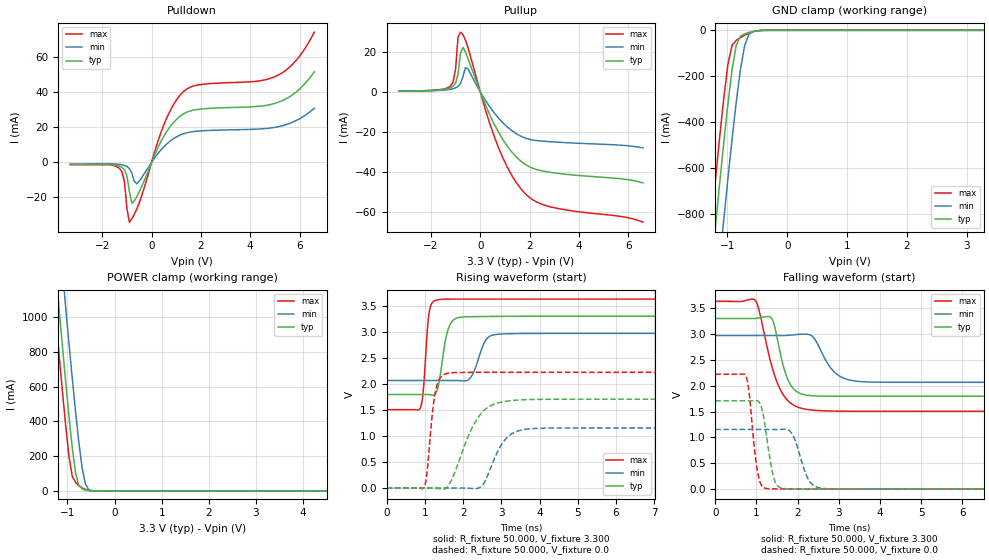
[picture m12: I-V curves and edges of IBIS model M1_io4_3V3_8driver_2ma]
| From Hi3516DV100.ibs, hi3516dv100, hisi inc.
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|   Model M1_io4_3V3_8driver_2ma
[Model] M1_io4_3V3_8driver_2ma
Model_type I/O
Enable   Active-Low
|   typ   min   max
C_comp   2.599pF   2.506pF   2.603pF
C_comp_pullup   1.350pF   1.271pF   1.409pF
C_comp_pulldown   1.072pF   1.051pF   1.091pF
[Temperature Range]   25.000   0.125k   -40.000
[Voltage Range]   3.300V   2.970V   3.630V
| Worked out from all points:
|   slope of the pulldown table from 0 to 0.495 V, typ, clamps not added: 33.2 ohm
|   slope of the pullup table from 0 to 0.495 V, typ, clamps not added: 34.5 ohm
|   GND clamp passes 1 mA (typ) near -0.46 V on its own axis
|   POWER clamp passes 1 mA (typ) near -0.51 V on its own axis
|   rising waveform, R_fixture 50.000, V_fixture 3.300: 20-80 % time 201ps typ, 262ps min, 119ps max; typ from 1.8 V to 3.3 V
|   rising waveform, R_fixture 50.000, V_fixture 0.0: 20-80 % time 597ps typ, 457ps min, 181ps max; typ from 0.001 V to 1.71 V
|   falling waveform, R_fixture 50.000, V_fixture 3.300: 20-80 % time 292ps typ, 421ps min, 441ps max; typ from 3.3 V to 1.8 V
|   falling waveform, R_fixture 50.000, V_fixture 0.0: 20-80 % time 204ps typ, 286ps min, 171ps max; typ from 1.71 V to 0.001 V
[Pulldown]
|Voltage   I(typ)   I(min)   I(max)
-3.3V     -1.194mA   -921.7uA   -1.327mA
-1.3V     -2.114mA   -1.111mA   -3.416mA
-1.1V     -4.211mA   -1.713mA   -11.11mA
-1V       -7.578mA   -2.318mA   -26.47mA
-900mV    -16.67mA   -3.474mA   -34.16mA
-800mV    -23.36mA   -6.08mA    -32.2mA
-600mV    -19.64mA   -12.22mA   -26.69mA
500mV     15.04mA    8.997mA    21.54mA
1.2V      26.86mA    15.89mA    39.16mA
5.1V      34.2mA     20.32mA    49.66mA
5.9V      40.67mA    24.18mA    58.93mA
6.6V      51.81mA    30.99mA    74.5mA
[Pullup]
|Voltage   I(typ)   I(min)   I(max)
-3.3V     376uA      346.4uA    381.1uA
-1.2V     1.955mA    1.202mA    2.892mA
-1V       4.268mA    1.9mA      11.18mA
-900mV    8.59mA     2.633mA    27.17mA
-800mV    19.21mA    4.092mA    29.75mA
-700mV    22.06mA    7.461mA    28.48mA
-500mV    16.78mA    11.45mA    22.15mA
700mV     -19.25mA   -12.54mA   -26.6mA
1.2V      -28.83mA   -18.66mA   -40.02mA
1.8V      -36.06mA   -23.02mA   -50.53mA
2.9V      -40.34mA   -25.02mA   -57.63mA
6.6V      -45.53mA   -28.06mA   -65.15mA
[GND_clamp]
|Voltage   I(typ)   I(min)   I(max)
-3.3V     -6.775A    -7.035A    -6.624A
-1.27V    -1.051A    -1.391A    -846.9mA
-1.2V     -860.6mA   -1.2A      -657.1mA
-1.06V    -493.3mA   -827.8mA   -298.8mA
-990mV    -322.2mA   -647.6mA   -149.5mA
-920mV    -171mA     -474.2mA   -65.16mA
-850mV    -64.78mA   -312mA     -43.82mA
-780mV    -25.58mA   -169.8mA   -31.88mA
-710mV    -14.94mA   -66.04mA   -21.48mA
-640mV    -8.835mA   -17.88mA   -12.82mA
-430mV    -438.1uA   -627.6uA   -443.7uA
3.28V     0A         0A         0A
[POWER_clamp]
|Voltage   I(typ)   I(min)   I(max)
-3.28V    7.852A     8.261A     7.609A
-1.32V    1.49A      1.927A     1.226A
-1.25V    1.271A     1.708A     1.008A
-1.18V    1.055A     1.491A     792.2mA
-1.04V    634.5mA    1.064A     382.2mA
-970mV    435.8mA    856.3mA    204.2mA
-900mV    253.6mA    654.3mA    86.06mA
-830mV    107.5mA    461.4mA    49.65mA
-690mV    11.98mA    135.8mA    17.79mA
-620mV    5.154mA    41.17mA    8.874mA
-480mV    413.3uA    1.23mA     720.7uA
6.6V      -86.79uA   -162.7nA   -146.4uA
[Ramp]
| variable   typ   min   max
dV/dt_r   1.023/0.598n   0.693/0.457n   1.332/0.183n
dV/dt_f   0.902/0.291n   0.543/0.421n   1.274/0.440n
R_load = 50.000
[Rising Waveform]
R_fixture= 50.000
V_fixture= 3.300
V_fixture_min= 2.970
V_fixture_max= 3.630
|time   V(typ)   V(min)   V(max)
0s        1.796V     2.066V     1.506V
882ps     1.796V     2.066V     1.541V
959ps     1.796V     2.066V     1.881V
1.112ns   1.794V     2.066V     3.369V
1.296ns   1.837V     2.066V     3.609V
1.596ns   3.021V     2.065V     3.629V
1.871ns   3.273V     2.065V     3.63V
2.191ns   3.291V     2.116V     3.63V
2.841ns   3.298V     2.948V     3.63V
10ns      3.3V       2.97V      3.63V
[Rising Waveform]
R_fixture= 50.000
V_fixture= 0.0
V_fixture_min= 0.0
V_fixture_max= 0.0
|time   V(typ)   V(min)   V(max)
0s        1.445mV    0V         1.898mV
980ps     1.408mV    1.678uV    17.49mV
1.054ns   1.436mV    801.8nV    280.9mV
1.273ns   -3.119mV   3.211uV    1.844V
1.56ns    669.4uV    17.77uV    2.197V
2.451ns   1.414V     17.16mV    2.221V
2.908ns   1.634V     708.2mV    2.221V
3.241ns   1.678V     1.026V     2.221V
3.708ns   1.699V     1.135V     2.221V
10ns      1.707V     1.154V     2.221V
[Falling Waveform]
R_fixture= 50.000
V_fixture= 3.300
V_fixture_min= 2.970
V_fixture_max= 3.630
|time   V(typ)   V(min)   V(max)
0s        3.3V       2.97V      3.63V
980ps     3.3V       2.97V      3.64V
1.356ns   3.315V     2.97V      2.426V
1.524ns   2.837V     2.97V      2.022V
1.755ns   2.132V     2.973V     1.717V
2.077ns   1.845V     2.995V     1.566V
2.36ns    1.805V     2.952V     1.528V
2.859ns   1.797V     2.291V     1.51V
3.339ns   1.796V     2.097V     1.507V
10ns      1.796V     2.066V     1.506V
[Falling Waveform]
R_fixture= 50.000
V_fixture= 0.0
V_fixture_min= 0.0
V_fixture_max= 0.0
|time   V(typ)   V(min)   V(max)
0s        1.707V     1.154V     2.221V
748ps     1.707V     1.154V     2.177V
1.021ns   1.708V     1.154V     364.4mV
1.22ns    1.165V     1.154V     17.54mV
1.421ns   221mV      1.154V     6.6mV
1.654ns   13.45mV    1.158V     4.185mV
1.861ns   4.179mV    1.074V     3.069mV
2.246ns   1.656mV    210.8mV    2.203mV
2.526ns   1.479mV    24.82mV    2.009mV
10ns      1.444mV    0V         1.899mV
